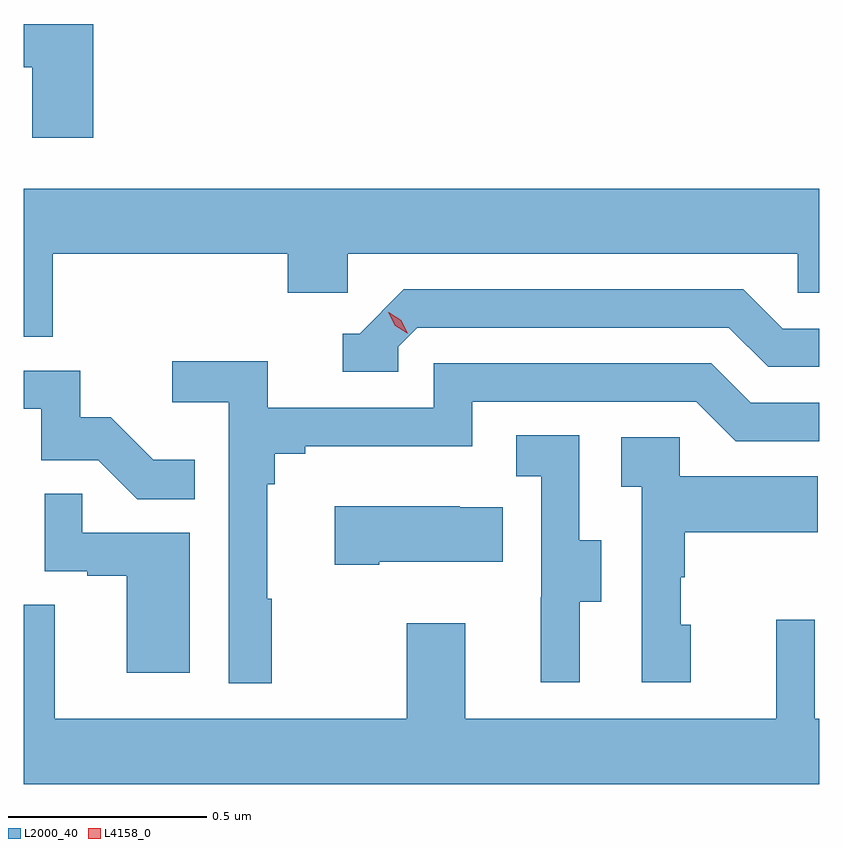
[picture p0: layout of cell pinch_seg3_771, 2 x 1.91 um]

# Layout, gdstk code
import gdstk
lib = gdstk.Library(unit=1e-6, precision=1e-09)
def P(c, l, *ps):  # polygons
    for p in ps: c.add(gdstk.Polygon(p, *l))
L2000_40 = (2000, 40)
L4158_0 = (4158, 0)

pinch_seg3_771 = lib.new_cell('pinch_seg3_771')
P(pinch_seg3_771, L2000_40, [(839.474,730.798),(839.299,730.798),(839.299,730.689),(839.321,730.689),(839.321,730.512),(839.474,730.512)],
  [(839.372,730.22),(839.963,730.22),(839.963,730.122),(840.114,730.122),(840.114,730.22),(841.245,730.22),(841.245,730.122),(841.299,730.122),(841.299,730.384),(839.299,730.384),(839.299,730.012),(839.372,730.012)],
  [(840.24,729.987),(840.288,730.035),(841.071,730.035),(841.17,729.936),(841.299,729.936),(841.299,730.032),(841.207,730.032),(841.108,730.131),(840.255,730.131),(840.144,730.02),(840.101,730.02),(840.101,729.924),(840.24,729.924)],
  [(839.923,729.353),(839.911,729.353),(839.911,729.641),(839.93,729.641),(839.93,729.718),(840.007,729.718),(840.007,729.737),(840.426,729.737),(840.426,729.849),(840.99,729.849),(841.089,729.75),(841.299,729.75),(841.299,729.846),(841.126,729.846),(841.027,729.945),(840.33,729.945),(840.33,729.834),(839.912,729.834),(839.912,729.95),(839.673,729.95),(839.673,729.848),(839.814,729.848),(839.814,729.141),(839.923,729.141)],
  [(839.729,729.703),(839.625,729.703),(839.518,729.81),(839.442,729.81),(839.442,729.927),(839.299,729.927),(839.299,729.831),(839.343,729.831),(839.343,729.702),(839.487,729.702),(839.585,729.604),(839.729,729.604)],
  [(840.697,729.346),(840.751,729.346),(840.751,729.501),(840.696,729.501),(840.696,729.764),(840.537,729.764),(840.537,729.661),(840.6,729.661),(840.6,729.357),(840.599,729.357),(840.599,729.144),(840.697,729.144)],
  [(840.976,729.288),(840.951,729.288),(840.951,729.407),(840.961,729.407),(840.961,729.521),(841.295,729.521),(841.295,729.661),(840.948,729.661),(840.948,729.759),(840.801,729.759),(840.801,729.635),(840.852,729.635),(840.852,729.144),(840.976,729.144)],
  [(839.716,729.519),(839.447,729.519),(839.447,729.617),(839.352,729.617),(839.352,729.423),(839.459,729.423),(839.459,729.411),(839.558,729.411),(839.558,729.168),(839.716,729.168)],
  [(840.193,729.446),(840.503,729.446),(840.503,729.583),(840.395,729.583),(840.395,729.586),(840.081,729.586),(840.081,729.439),(840.193,729.439)],
  [(841.299,729.052),(841.287,729.052),(841.287,729.301),(841.19,729.301),(841.19,729.052),(840.409,729.052),(840.409,729.292),(840.262,729.292),(840.262,729.052),(839.377,729.052),(839.377,729.338),(839.299,729.338),(839.299,728.888),(841.299,728.888)])
P(pinch_seg3_771, L4158_0, [(840.263,730.021),(840.233,730.04),(840.216,730.073),(840.216,730.073),(840.217,730.073),(840.248,730.054),(840.264,730.021),(840.264,730.021)])

lib.write_gds('pinch_seg3_771.gds')
